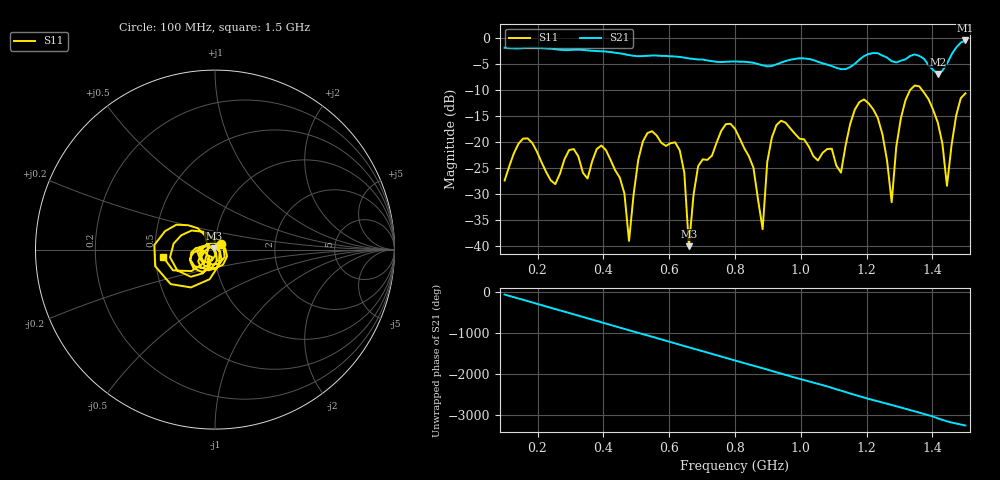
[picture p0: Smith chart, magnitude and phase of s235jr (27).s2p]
! NanoVNA-App
! Date: 2025-09-25 15:04:22
! Start: 100MHz Stop: 1,5GHz Points: 101
! S-Parameter data: F S11 S21 S12 S22
# Hz S RI R 50
!  Frequency  S11_Real  S11_Imag  S21_Real  S21_Imag  S12_Real  S12_Imag  S22_Real  S22_Imag
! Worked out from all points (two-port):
!   101 points, 100 MHz to 1.5 GHz, reference 50 ohm
!   highest |S21| = -0.57 dB at 1.5 GHz (marker M1); lowest = -7.0 dB at 1.416 GHz (marker M2)
!   |S21| within 3 dB of the highest: start of sweep to 502.1 MHz; 516.7 MHz to 595.3 MHz (78.56 MHz wide, 14.1 % of centre) (the widest 2 of 5)
!   lowest |S11| = -40.1 dB at 660 MHz (marker M3), VSWR 1.02, Z = 49.3 + j0.657 ohm
!   |S11| at or under -10 dB: start of sweep to 1.333 GHz; 1.367 GHz to end of sweep
!   S12 and S22 are empty: the file has one direction only
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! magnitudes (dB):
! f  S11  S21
! 100 MHz  -27.5  -2.0
! 156 MHz  -19.4  -2.0
! 338 MHz  -26.0  -2.4
! 408 MHz  -21.7  -2.7
! 478 MHz  -39.1  -3.4
! 520 MHz  -20.0  -3.6
! 576 MHz  -20.2  -3.5
! 632 MHz  -21.7  -3.7
! 660 MHz  -40.1  -4.0
! 688 MHz  -24.7  -4.2
! 800 MHz  -17.5  -4.6
! 884 MHz  -36.8  -5.4
! 926 MHz  -16.8  -5.1
! 1.038 GHz  -22.8  -4.3
! 1.122 GHz  -26.0  -6.1
! 1.192 GHz  -11.9  -3.6
! 1.248 GHz  -18.6  -3.5
! 1.276 GHz  -31.6  -4.6
! 1.332 GHz  -10.1  -3.5
! 1.416 GHz  -16.3  -7.0
! 1.444 GHz  -28.5  -5.0
! 1.5 GHz  -10.7  -0.6
